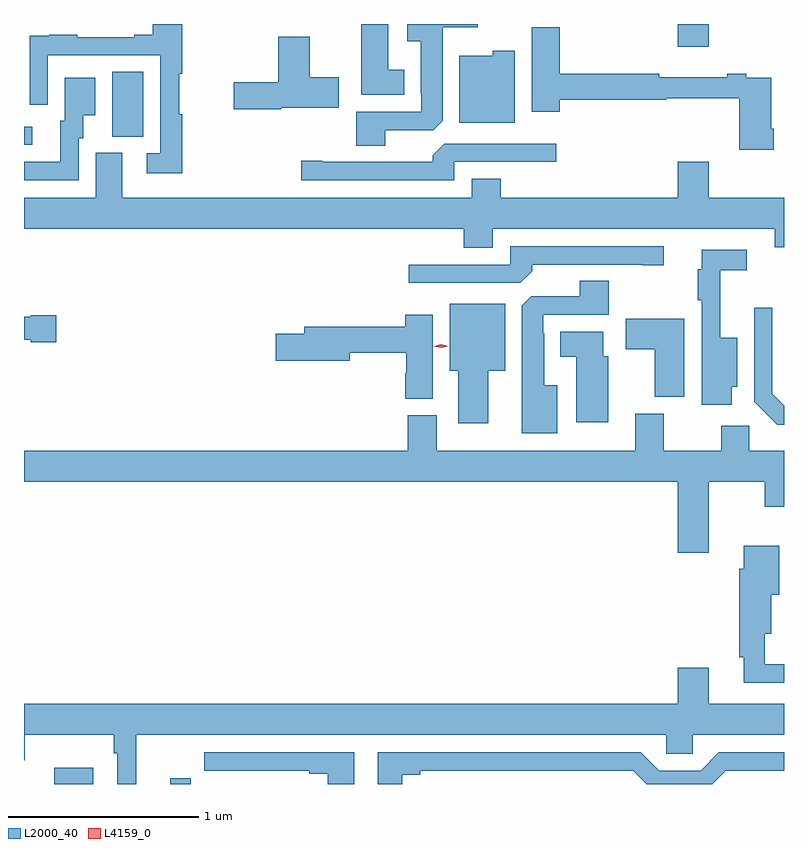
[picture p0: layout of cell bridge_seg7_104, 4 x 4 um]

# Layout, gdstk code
import gdstk
lib = gdstk.Library(unit=1e-6, precision=1e-09)
def R(c, l, rs):  # rectangles x0, y0, x1, y1
    for r in rs: c.add(gdstk.rectangle(r[:2], r[2:], *l))
def P(c, l, *ps):  # polygons
    for p in ps: c.add(gdstk.Polygon(p, *l))
L2000_40 = (2000, 40)
L4159_0 = (4159, 0)

bridge_seg7_104 = lib.new_cell('bridge_seg7_104')
R(bridge_seg7_104, L2000_40, [(1060.826,1013.678,1061.032,1013.764), (1061.438,1013.678,1061.546,1013.707), (1060.668,1017.042,1060.711,1017.138), (1061.132,1017.085,1061.296,1017.428), (1064.108,1017.558,1064.272,1017.678)])
P(bridge_seg7_104, L2000_40, [(1062.67,1017.436),(1062.586,1017.436),(1062.586,1017.678),(1062.443,1017.678),(1062.443,1017.305),(1062.67,1017.305)],
  [(1062.568,1017.12),(1062.822,1017.12),(1062.871,1017.169),(1062.871,1017.662),(1063.057,1017.662),(1063.057,1017.678),(1062.686,1017.678),(1062.686,1017.587),(1062.755,1017.587),(1062.755,1017.313),(1062.759,1017.313),(1062.759,1017.216),(1062.416,1017.216),(1062.416,1017.037),(1062.568,1017.037)],
  [(1061.501,1017.204),(1061.486,1017.204),(1061.486,1017.416),(1061.501,1017.416),(1061.501,1017.678),(1061.345,1017.678),(1061.345,1017.622),(1061.249,1017.622),(1061.249,1017.609),(1060.949,1017.609),(1060.949,1017.622),(1060.801,1017.622),(1060.801,1017.615),(1060.699,1017.615),(1060.699,1017.506),(1060.698,1017.506),(1060.698,1017.252),(1060.794,1017.252),(1060.794,1017.513),(1061.385,1017.513),(1061.385,1016.997),(1061.313,1016.997),(1061.313,1016.892),(1061.501,1016.892)],
  [(1064.615,1017.127),(1064.602,1017.127),(1064.602,1017.396),(1064.468,1017.396),(1064.468,1017.416),(1064.368,1017.416),(1064.368,1017.397),(1064.012,1017.397),(1064.012,1017.416),(1063.487,1017.416),(1063.487,1017.66),(1063.34,1017.66),(1063.34,1017.216),(1063.487,1017.216),(1063.487,1017.28),(1064.048,1017.28),(1064.048,1017.288),(1064.432,1017.288),(1064.432,1017.015),(1064.615,1017.015)],
  [(1062.021,1017.236),(1062.325,1017.236),(1062.325,1017.399),(1062.172,1017.399),(1062.172,1017.61),(1062.005,1017.61),(1062.005,1017.371),(1061.772,1017.371),(1061.772,1017.229),(1062.021,1017.229)],
  [(1063.252,1017.538),(1063.134,1017.538),(1063.134,1017.511),(1062.959,1017.511),(1062.959,1017.158),(1063.252,1017.158)],
  [(1060.956,1017.078),(1060.981,1017.078),(1060.981,1017.197),(1061.044,1017.197),(1061.044,1017.394),(1060.883,1017.394),(1060.883,1017.168),(1060.859,1017.168),(1060.859,1016.952),(1060.668,1016.952),(1060.668,1016.856),(1060.956,1016.856)],
  [(1062.933,1016.952),(1063.468,1016.952),(1063.468,1017.048),(1062.879,1017.048),(1062.818,1016.986),(1062.818,1016.952),(1062.238,1016.952),(1062.238,1016.957),(1062.126,1016.957),(1062.126,1016.856),(1062.933,1016.856)],
  [(1063.135,1016.6),(1064.618,1016.6),(1064.618,1016.502),(1064.668,1016.502),(1064.668,1016.764),(1064.272,1016.764),(1064.272,1016.953),(1064.108,1016.953),(1064.108,1016.764),(1063.178,1016.764),(1063.178,1016.863),(1063.025,1016.863),(1063.025,1016.764),(1061.185,1016.764),(1061.185,1017),(1061.045,1017),(1061.045,1016.764),(1060.668,1016.764),(1060.668,1016.6),(1062.983,1016.6),(1062.983,1016.501),(1063.135,1016.501)],
  [(1063.343,1016.378),(1063.343,1016.412),(1063.922,1016.412),(1063.922,1016.407),(1064.035,1016.407),(1064.035,1016.508),(1063.227,1016.508),(1063.227,1016.412),(1062.693,1016.412),(1062.693,1016.316),(1063.281,1016.316)],
  [(1064.392,1015.769),(1064.422,1015.769),(1064.422,1016.026),(1064.333,1016.026),(1064.333,1016.382),(1064.473,1016.382),(1064.473,1016.49),(1064.234,1016.49),(1064.234,1016.387),(1064.215,1016.387),(1064.215,1016.224),(1064.235,1016.224),(1064.235,1015.922),(1064.234,1015.922),(1064.234,1015.674),(1064.392,1015.674)],
  [(1063.474,1015.777),(1063.405,1015.777),(1063.405,1016.051),(1063.401,1016.051),(1063.401,1016.148),(1063.745,1016.148),(1063.745,1016.327),(1063.592,1016.327),(1063.592,1016.244),(1063.338,1016.244),(1063.289,1016.195),(1063.289,1015.523),(1063.474,1015.523)],
  [(1063.111,1015.853),(1063.201,1015.853),(1063.201,1016.206),(1062.908,1016.206),(1062.908,1015.853),(1062.953,1015.853),(1062.953,1015.578),(1063.111,1015.578)],
  [(1064.668,1015.67),(1064.607,1015.731),(1064.607,1016.185),(1064.511,1016.185),(1064.511,1015.689),(1064.632,1015.568),(1064.668,1015.568)],
  [(1062.82,1016.149),(1062.674,1016.149),(1062.674,1016.084),(1062.143,1016.084),(1062.143,1016.048),(1061.994,1016.048),(1061.994,1015.906),(1062.382,1015.906),(1062.382,1015.948),(1062.679,1015.948),(1062.679,1015.841),(1062.674,1015.841),(1062.674,1015.705),(1062.82,1015.705)],
  [(1060.837,1016.145),(1060.704,1016.145),(1060.704,1016.137),(1060.668,1016.137),(1060.668,1016.015),(1060.704,1016.015),(1060.704,1016.003),(1060.837,1016.003)],
  [(1064.143,1016.128),(1063.836,1016.128),(1063.836,1015.966),(1063.988,1015.966),(1063.988,1015.715),(1064.143,1015.715)],
  [(1063.744,1015.929),(1063.717,1015.929),(1063.717,1016.059),(1063.49,1016.059),(1063.49,1015.928),(1063.574,1015.928),(1063.574,1015.581),(1063.744,1015.581)],
  [(1064.272,1015.268),(1064.567,1015.268),(1064.567,1015.137),(1064.668,1015.137),(1064.668,1015.432),(1064.484,1015.432),(1064.484,1015.564),(1064.338,1015.564),(1064.338,1015.432),(1064.034,1015.432),(1064.034,1015.627),(1063.886,1015.627),(1063.886,1015.432),(1062.841,1015.432),(1062.841,1015.62),(1062.689,1015.62),(1062.689,1015.432),(1060.668,1015.432),(1060.668,1015.268),(1064.108,1015.268),(1064.108,1014.894),(1064.272,1014.894)],
  [(1064.668,1014.307),(1064.566,1014.307),(1064.566,1014.47),(1064.602,1014.47),(1064.602,1014.674),(1064.644,1014.674),(1064.644,1014.931),(1064.456,1014.931),(1064.456,1014.81),(1064.432,1014.81),(1064.432,1014.344),(1064.456,1014.344),(1064.456,1014.21),(1064.668,1014.21)],
  [(1064.108,1014.289),(1064.108,1014.1),(1060.668,1014.1),(1060.668,1013.802),(1060.673,1013.802),(1060.673,1013.936),(1061.14,1013.936),(1061.14,1013.84),(1061.16,1013.84),(1061.16,1013.678),(1061.258,1013.678),(1061.258,1013.936),(1064.049,1013.936),(1064.049,1013.838),(1064.187,1013.838),(1064.187,1013.936),(1064.668,1013.936),(1064.668,1014.1),(1064.272,1014.1),(1064.272,1014.289)],
  [(1062.406,1013.844),(1061.616,1013.844),(1061.616,1013.748),(1061.728,1013.748),(1061.728,1013.747),(1061.894,1013.747),(1061.894,1013.748),(1062.17,1013.748),(1062.17,1013.733),(1062.266,1013.733),(1062.266,1013.678),(1062.406,1013.678)],
  [(1062.658,1013.728),(1062.754,1013.728),(1062.754,1013.748),(1063.875,1013.748),(1063.945,1013.678),(1064.291,1013.678),(1064.361,1013.748),(1064.668,1013.748),(1064.668,1013.844),(1064.325,1013.844),(1064.229,1013.748),(1064.011,1013.748),(1063.915,1013.844),(1062.53,1013.844),(1062.53,1013.678),(1062.658,1013.678)])
P(bridge_seg7_104, L4159_0, [(1062.863,1015.973),(1062.825,1015.982),(1062.825,1015.982),(1062.825,1015.983),(1062.863,1015.992),(1062.9,1015.983),(1062.901,1015.983),(1062.9,1015.982)])

lib.write_gds('bridge_seg7_104.gds')
